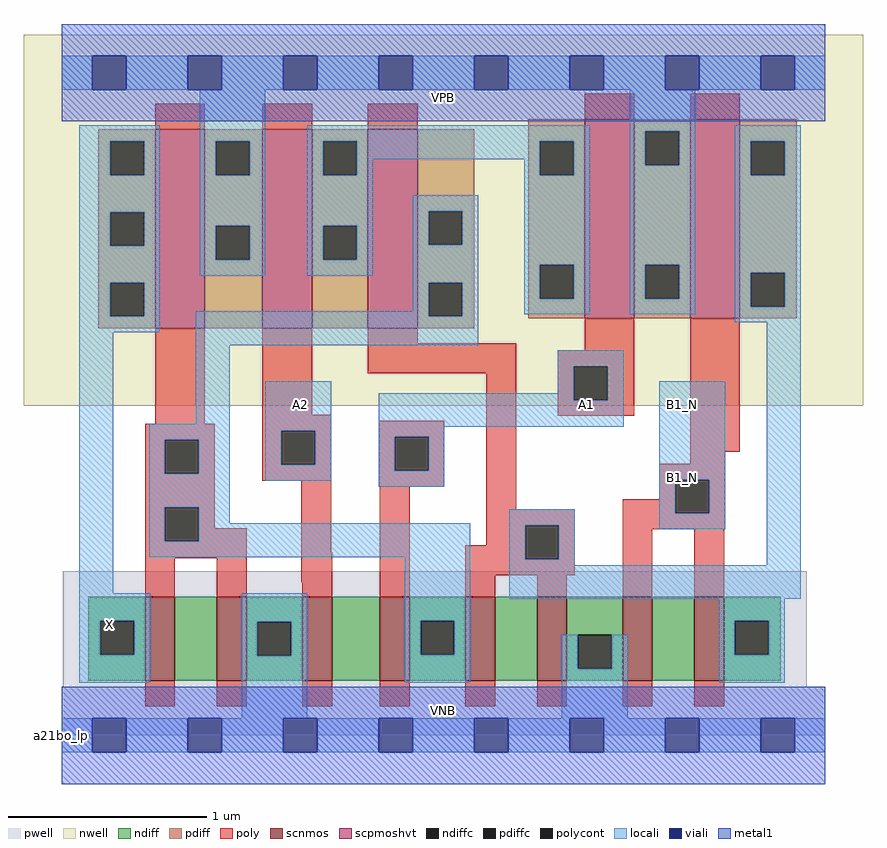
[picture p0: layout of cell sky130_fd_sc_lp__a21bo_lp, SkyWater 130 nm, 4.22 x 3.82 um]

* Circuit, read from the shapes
.subckt sky130_fd_sc_lp__a21bo_lp A1 A2 B1_N VGND VNB VPB VPWR X
XM1 n1 n2 X VNB sky130_fd_pr__nfet_01v8 w=0.42 l=0.15
XM2 VGND n2 n1 VNB sky130_fd_pr__nfet_01v8 w=0.42 l=0.15
XM3 n3 A2 VGND VNB sky130_fd_pr__nfet_01v8 w=0.42 l=0.15
XM4 n2 A1 n3 VNB sky130_fd_pr__nfet_01v8 w=0.42 l=0.15
XM5 n4 n5 n2 VNB sky130_fd_pr__nfet_01v8 w=0.42 l=0.15
XM6 VGND n5 n4 VNB sky130_fd_pr__nfet_01v8 w=0.42 l=0.15
XM7 n6 B1_N VGND VNB sky130_fd_pr__nfet_01v8 w=0.42 l=0.15
XM8 n5 B1_N n6 VNB sky130_fd_pr__nfet_01v8 w=0.42 l=0.15
XM9 VPWR n2 X VPB sky130_fd_pr__pfet_01v8_hvt w=1 l=0.25
XM10 n7 A2 VPWR VPB sky130_fd_pr__pfet_01v8_hvt w=1 l=0.25
XM11 n2 n5 n7 VPB sky130_fd_pr__pfet_01v8_hvt w=1 l=0.25
XM12 VPWR A1 n7 VPB sky130_fd_pr__pfet_01v8_hvt w=1 l=0.25
XM13 n5 B1_N VPWR VPB sky130_fd_pr__pfet_01v8_hvt w=1 l=0.25
.ends

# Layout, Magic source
magic
tech sky130A
magscale 1 2
<< nwell >>
rect -38 331 806 704
<< pwell >>
rect 1 49 749 165
rect 0 0 768 49
<< scnmos >>
rect 84 55 114 139
rect 156 55 186 139
rect 242 55 272 139
rect 320 55 350 139
rect 406 55 436 139
rect 478 55 508 139
rect 564 55 594 139
rect 636 55 666 139
<< scpmoshvt >>
rect 94 409 144 609
rect 202 409 252 609
rect 308 409 358 609
rect 526 419 576 619
rect 632 419 682 619
<< ndiff >>
rect 27 115 84 139
rect 27 81 39 115
rect 73 81 84 115
rect 27 55 84 81
rect 114 55 156 139
rect 186 114 242 139
rect 186 80 197 114
rect 231 80 242 114
rect 186 55 242 80
rect 272 55 320 139
rect 350 115 406 139
rect 350 81 361 115
rect 395 81 406 115
rect 350 55 406 81
rect 436 55 478 139
rect 508 101 564 139
rect 508 67 519 101
rect 553 67 564 101
rect 508 55 564 67
rect 594 55 636 139
rect 666 115 723 139
rect 666 81 677 115
rect 711 81 723 115
rect 666 55 723 81
<< pdiff >>
rect 37 597 94 609
rect 37 563 49 597
rect 83 563 94 597
rect 37 526 94 563
rect 37 492 49 526
rect 83 492 94 526
rect 37 455 94 492
rect 37 421 49 455
rect 83 421 94 455
rect 37 409 94 421
rect 144 597 202 609
rect 144 563 155 597
rect 189 563 202 597
rect 144 512 202 563
rect 144 478 155 512
rect 189 478 202 512
rect 144 409 202 478
rect 252 597 308 609
rect 252 563 263 597
rect 297 563 308 597
rect 252 512 308 563
rect 252 478 263 512
rect 297 478 308 512
rect 252 409 308 478
rect 358 527 415 609
rect 358 493 369 527
rect 403 493 415 527
rect 358 455 415 493
rect 358 421 369 455
rect 403 421 415 455
rect 358 409 415 421
rect 469 597 526 619
rect 469 563 481 597
rect 515 563 526 597
rect 469 473 526 563
rect 469 439 481 473
rect 515 439 526 473
rect 469 419 526 439
rect 576 607 632 619
rect 576 573 587 607
rect 621 573 632 607
rect 576 473 632 573
rect 576 439 587 473
rect 621 439 632 473
rect 576 419 632 439
rect 682 597 739 619
rect 682 563 693 597
rect 727 563 739 597
rect 682 465 739 563
rect 682 431 693 465
rect 727 431 739 465
rect 682 419 739 431
<< ndiffc >>
rect 39 81 73 115
rect 197 80 231 114
rect 361 81 395 115
rect 519 67 553 101
rect 677 81 711 115
<< pdiffc >>
rect 49 563 83 597
rect 49 492 83 526
rect 49 421 83 455
rect 155 563 189 597
rect 155 478 189 512
rect 263 563 297 597
rect 263 478 297 512
rect 369 493 403 527
rect 369 421 403 455
rect 481 563 515 597
rect 481 439 515 473
rect 587 573 621 607
rect 587 439 621 473
rect 693 563 727 597
rect 693 431 727 465
<< poly >>
rect 94 609 144 635
rect 202 609 252 635
rect 308 609 358 635
rect 526 619 576 645
rect 632 619 682 645
rect 94 313 144 409
rect 202 322 252 409
rect 308 394 358 409
rect 308 364 457 394
rect 526 387 576 419
rect 84 297 154 313
rect 84 263 104 297
rect 138 263 154 297
rect 84 229 154 263
rect 202 306 271 322
rect 202 272 221 306
rect 255 272 271 306
rect 202 256 271 272
rect 84 195 104 229
rect 138 208 154 229
rect 138 195 186 208
rect 84 178 186 195
rect 84 139 114 178
rect 156 139 186 178
rect 241 184 271 256
rect 319 300 385 316
rect 319 266 335 300
rect 369 266 385 300
rect 319 250 385 266
rect 241 154 272 184
rect 242 139 272 154
rect 320 139 350 250
rect 427 227 457 364
rect 499 371 576 387
rect 499 337 515 371
rect 549 337 576 371
rect 499 321 576 337
rect 632 285 682 419
rect 632 273 667 285
rect 601 257 667 273
rect 601 237 617 257
rect 427 211 516 227
rect 427 191 466 211
rect 406 177 466 191
rect 500 177 516 211
rect 406 161 516 177
rect 564 223 617 237
rect 651 223 667 257
rect 564 207 667 223
rect 406 139 436 161
rect 478 139 508 161
rect 564 139 594 207
rect 636 139 666 207
rect 84 29 114 55
rect 156 29 186 55
rect 242 29 272 55
rect 320 29 350 55
rect 406 29 436 55
rect 478 29 508 55
rect 564 29 594 55
rect 636 29 666 55
<< polycont >>
rect 104 263 138 297
rect 221 272 255 306
rect 104 195 138 229
rect 335 266 369 300
rect 515 337 549 371
rect 466 177 500 211
rect 617 223 651 257
<< locali >>
rect 0 649 31 683
rect 65 649 127 683
rect 161 649 223 683
rect 257 649 319 683
rect 353 649 415 683
rect 449 649 511 683
rect 545 649 607 683
rect 641 649 703 683
rect 737 649 768 683
rect 18 597 99 613
rect 18 563 49 597
rect 83 563 99 597
rect 18 526 99 563
rect 18 492 49 526
rect 83 492 99 526
rect 18 455 99 492
rect 139 597 205 649
rect 139 563 155 597
rect 189 563 205 597
rect 139 512 205 563
rect 139 478 155 512
rect 189 478 205 512
rect 139 462 205 478
rect 247 597 531 613
rect 247 563 263 597
rect 297 579 481 597
rect 297 563 313 579
rect 247 512 313 563
rect 465 563 481 579
rect 515 563 531 597
rect 247 478 263 512
rect 297 478 313 512
rect 247 462 313 478
rect 353 527 419 543
rect 353 493 369 527
rect 403 493 419 527
rect 18 421 49 455
rect 83 421 99 455
rect 353 455 419 493
rect 353 426 369 455
rect 18 405 99 421
rect 135 421 369 426
rect 403 421 419 455
rect 465 473 531 563
rect 465 439 481 473
rect 515 439 531 473
rect 465 423 531 439
rect 571 607 637 649
rect 571 573 587 607
rect 621 573 637 607
rect 571 473 637 573
rect 571 439 587 473
rect 621 439 637 473
rect 571 423 637 439
rect 677 597 743 613
rect 677 563 693 597
rect 727 563 743 597
rect 677 465 743 563
rect 677 431 693 465
rect 727 431 743 465
rect 18 143 52 405
rect 135 392 419 421
rect 677 415 743 431
rect 135 313 169 392
rect 499 371 565 387
rect 88 297 169 313
rect 88 263 104 297
rect 138 263 169 297
rect 88 229 169 263
rect 205 306 271 356
rect 499 344 515 371
rect 205 272 221 306
rect 255 272 271 306
rect 205 256 271 272
rect 319 337 515 344
rect 549 337 565 371
rect 319 310 565 337
rect 319 300 385 310
rect 319 266 335 300
rect 369 266 385 300
rect 319 250 385 266
rect 601 257 667 356
rect 88 195 104 229
rect 138 213 169 229
rect 138 195 411 213
rect 88 179 411 195
rect 18 115 89 143
rect 18 81 39 115
rect 73 81 89 115
rect 18 53 89 81
rect 181 114 247 143
rect 181 80 197 114
rect 231 80 247 114
rect 181 17 247 80
rect 345 115 411 179
rect 450 211 516 227
rect 450 177 466 211
rect 500 177 516 211
rect 601 223 617 257
rect 651 223 667 257
rect 601 207 667 223
rect 450 171 516 177
rect 709 171 743 415
rect 450 137 743 171
rect 345 81 361 115
rect 395 81 411 115
rect 661 115 727 137
rect 345 53 411 81
rect 503 67 519 101
rect 553 67 569 101
rect 503 17 569 67
rect 661 81 677 115
rect 711 81 727 115
rect 661 53 727 81
rect 0 -17 31 17
rect 65 -17 127 17
rect 161 -17 223 17
rect 257 -17 319 17
rect 353 -17 415 17
rect 449 -17 511 17
rect 545 -17 607 17
rect 641 -17 703 17
rect 737 -17 768 17
<< viali >>
rect 31 649 65 683
rect 127 649 161 683
rect 223 649 257 683
rect 319 649 353 683
rect 415 649 449 683
rect 511 649 545 683
rect 607 649 641 683
rect 703 649 737 683
rect 31 -17 65 17
rect 127 -17 161 17
rect 223 -17 257 17
rect 319 -17 353 17
rect 415 -17 449 17
rect 511 -17 545 17
rect 607 -17 641 17
rect 703 -17 737 17
<< metal1 >>
rect 0 683 768 715
rect 0 649 31 683
rect 65 649 127 683
rect 161 649 223 683
rect 257 649 319 683
rect 353 649 415 683
rect 449 649 511 683
rect 545 649 607 683
rect 641 649 703 683
rect 737 649 768 683
rect 0 617 768 649
rect 0 17 768 49
rect 0 -17 31 17
rect 65 -17 127 17
rect 161 -17 223 17
rect 257 -17 319 17
rect 353 -17 415 17
rect 449 -17 511 17
rect 545 -17 607 17
rect 641 -17 703 17
rect 737 -17 768 17
rect 0 -49 768 -17
<< labels >>
flabel pwell s 0 0 768 49 0 FreeSans 200 0 0 0 VNB
port 5 nsew ground bidirectional
flabel nwell s 0 617 768 666 0 FreeSans 200 0 0 0 VPB
port 6 nsew power bidirectional
rlabel comment s 0 0 0 0 4 a21bo_lp
flabel metal1 s 0 617 768 666 0 FreeSans 340 0 0 0 VPWR
port 7 nsew power bidirectional
flabel metal1 s 0 0 768 49 0 FreeSans 340 0 0 0 VGND
port 4 nsew ground bidirectional
flabel locali s 607 242 641 276 0 FreeSans 340 0 0 0 B1_N
port 3 nsew signal input
flabel locali s 607 316 641 350 0 FreeSans 340 0 0 0 B1_N
port 3 nsew signal input
flabel locali s 223 316 257 350 0 FreeSans 340 0 0 0 A2
port 2 nsew signal input
flabel locali s 511 316 545 350 0 FreeSans 340 0 0 0 A1
port 1 nsew signal input
flabel locali s 31 94 65 128 0 FreeSans 340 0 0 0 X
port 8 nsew signal output
<< properties >>
string LEFsite unit
string LEFclass CORE
string FIXED_BBOX 0 0 768 666
string GDS_FILE $PDKPATH/libs.ref/sky130_fd_sc_lp/gds/sky130_fd_sc_lp.gds
string LEFsymmetry X Y R90
string GDS_END 3736890
string GDS_START 3730242
<< end >>
